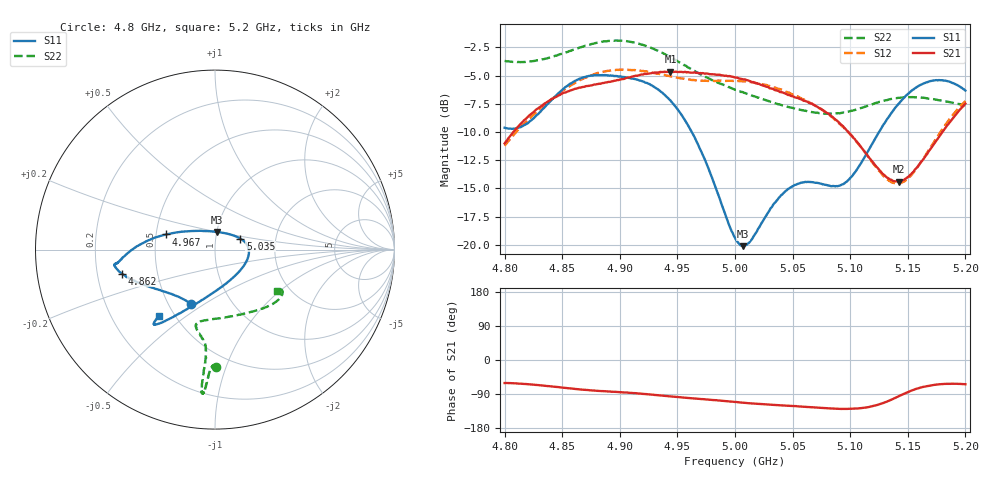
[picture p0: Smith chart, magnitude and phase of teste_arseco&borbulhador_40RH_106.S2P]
! Network Analyzer HP8722D
! Hewlett-Packard
! Data name: Linha & Wilkinson
! Saver's name: Rodrigo Anjos
! Comments: Teste da utilização de aquisição
! continua pelo VNA HP8722D
! Time and date: 15/4/2025 17:14
!  Frequency  S11  S21  S12  S22
# HZ  S  MA R 50
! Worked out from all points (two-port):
!   401 points, 4.8 GHz to 5.2 GHz, reference 50 ohm
!   highest |S21| = -4.64 dB at 4.944 GHz (marker M1); lowest = -14.4 dB at 5.142 GHz (marker M2)
!   |S21| within 3 dB of the highest: 4.832 GHz to 5.069 GHz (236.6 MHz wide, 4.78 % of centre); 5.198556 GHz to end of sweep
!   lowest |S11| = -20.1 dB at 5.007 GHz (marker M3), VSWR 1.22, Z = 50.1 + j9.92 ohm
!   |S11| at or under -10 dB: 4.962 GHz to 5.125 GHz (162.5 MHz wide, 3.22 % of centre)
!   |S22| runs from -8.4 to -1.9 dB; largest |S21 - S12| = 0.88
!   S11 on the Smith chart (normalised r, x): 4.8 GHz: 0.65, -0.44; 4.862 GHz: 0.31, -0.12; 4.967 GHz: 0.57, +0.10; 5.035 GHz: 1.32, +0.17; 5.2 GHz: 0.41, -0.40
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4.8e9  0.3304 -113.6  0.2816 -60.8  0.2748 -175.0  0.6539 -89.5
4.819e9  0.3442 -133.4  0.3642 -63.5  0.3521 -173.1  0.6486 -91.1
4.84e9  0.4341 -152.7  0.4401 -69.5  0.4393 -173.5  0.6788 -92.5
4.862e9  0.5355 -165.5  0.4921 -76.5  0.5258 -176.2  0.7408 -93.5
4.867e9  0.5496 -167.5  0.4995 -78.1  0.5421 -177.2  0.7542 -93.6
4.902e9  0.5553 -172.0  0.5432 -85.3  0.5972 175.5  0.8031 -95.2
4.934e9  0.4855 -177.9  0.5815 -93.3  0.5733 172.0  0.7203 -95.4
4.944e9  0.4366 177.6  0.5861 -95.9  0.559 172.0  0.6785 -95.3
4.967e9  0.2847 162.8  0.5788 -101.9  0.535 174.1  0.5817 -94.9
5e9  0.1074 107.4  0.5523 -110.7  0.5352 176.5  0.4871 -99.2
5.007e9  0.09864 84.0  0.542 -112.6  0.5309 176.6  0.4743 -100.8
5.014e9  0.1048 61.9  0.529 -114.5  0.5268 176.3  0.4605 -102.5
5.035e9  0.1543 23.3  0.4847 -118.9  0.4977 175.1  0.4243 -103.9
5.05e9  0.182 7.4  0.4563 -121.5  0.464 174.5  0.405 -100.5
5.067e9  0.1899 -11.0  0.4215 -124.4  0.4228 174.0  0.3876 -92.0
5.088e9  0.1822 -45.6  0.3572 -128.5  0.355 173.8  0.3827 -76.2
5.097e9  0.1906 -64.6  0.3214 -129.1  0.3214 174.4  0.3889 -68.6
5.134e9  0.373 -115.9  0.1957 -107.1  0.1919 -159.8  0.4416 -43.4
5.142e9  0.4211 -120.4  0.1906 -95.8  0.1878 -147.2  0.4486 -39.8
5.154e9  0.4858 -124.9  0.2088 -80.0  0.2068 -128.8  0.4518 -35.6
5.171e9  0.5337 -128.6  0.2719 -66.4  0.2766 -112.3  0.4429 -31.7
5.2e9  0.483 -130.2  0.4225 -63.9  0.4338 -105.9  0.416 -33.3
